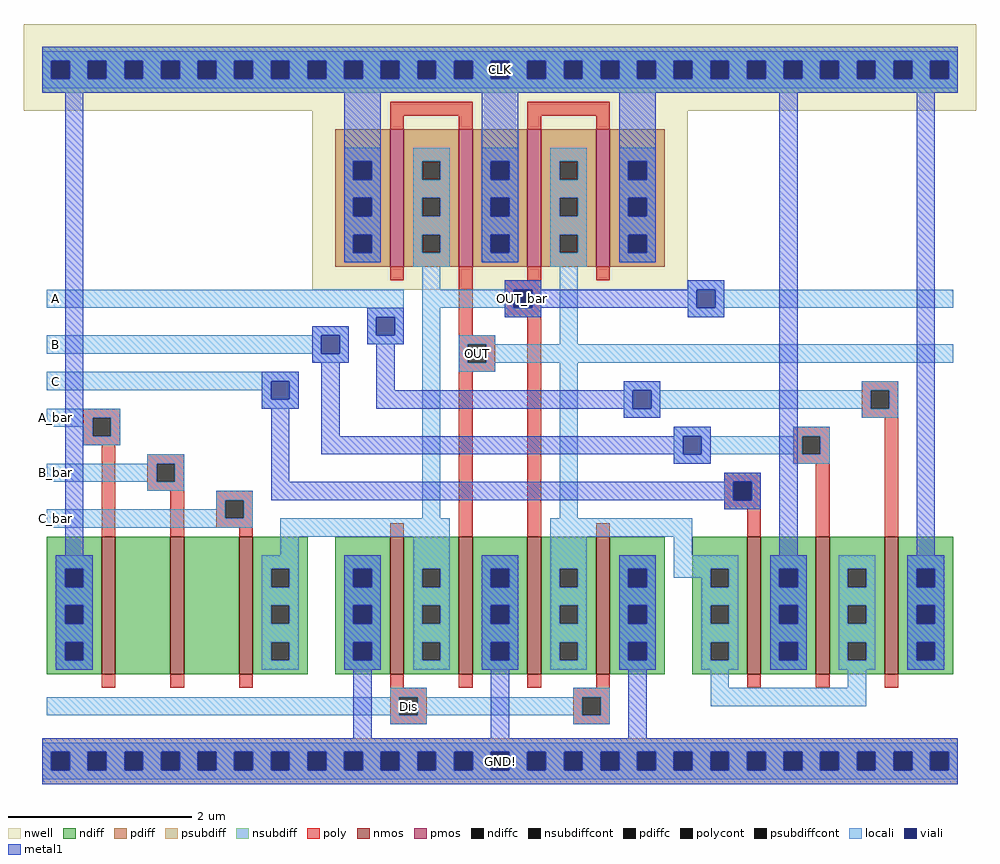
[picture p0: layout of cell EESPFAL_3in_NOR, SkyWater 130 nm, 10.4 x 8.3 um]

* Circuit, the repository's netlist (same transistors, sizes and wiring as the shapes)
* NGSPICE file created from EESPFAL_3in_NOR.ext - technology: sky130A

.subckt EESPFAL_3in_NOR A A_bar B B_bar C C_bar OUT OUT_bar Dis GND CLK
X0 CLK OUT_bar OUT CLK sky130_fd_pr__pfet_01v8 ad=2.7e+12p pd=1.26e+07u as=9e+11p ps=4.2e+06u w=1.5e+06u l=150000u M=2
X1 a_n1990_240# B_bar a_n2140_240# GND sky130_fd_pr__nfet_01v8 ad=9e+11p pd=4.2e+06u as=9e+11p ps=4.2e+06u w=1.5e+06u l=150000u
X2 CLK A OUT GND sky130_fd_pr__nfet_01v8 ad=7.7e+12p pd=3.36e+07u as=2.7e+12p ps=1.26e+07u w=1.5e+06u l=150000u
X3 OUT_bar OUT CLK CLK sky130_fd_pr__pfet_01v8 ad=9e+11p pd=4.2e+06u as=0p ps=0u w=1.5e+06u l=150000u M=2
X4 OUT OUT_bar GND GND sky130_fd_pr__nfet_01v8 ad=0p pd=0u as=2.7e+12p ps=1.26e+07u w=1.5e+06u l=150000u
X5 CLK C OUT GND sky130_fd_pr__nfet_01v8 ad=0p pd=0u as=0p ps=0u w=1.5e+06u l=150000u
X6 OUT_bar Dis GND GND sky130_fd_pr__nfet_01v8 ad=1.8e+12p pd=8.4e+06u as=0p ps=0u w=1.5e+06u l=150000u
X7 a_n2140_240# A_bar CLK GND sky130_fd_pr__nfet_01v8 ad=0p pd=0u as=0p ps=0u w=1.5e+06u l=150000u
X8 GND Dis OUT GND sky130_fd_pr__nfet_01v8 ad=0p pd=0u as=0p ps=0u w=1.5e+06u l=150000u
X9 OUT_bar C_bar a_n1990_240# GND sky130_fd_pr__nfet_01v8 ad=0p pd=0u as=0p ps=0u w=1.5e+06u l=150000u
X10 GND OUT OUT_bar GND sky130_fd_pr__nfet_01v8 ad=0p pd=0u as=0p ps=0u w=1.5e+06u l=150000u
X11 OUT B CLK GND sky130_fd_pr__nfet_01v8 ad=0p pd=0u as=0p ps=0u w=1.5e+06u l=150000u
.ends

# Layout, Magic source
magic
tech sky130A
<< nwell >>
rect -1170 735 -130 830
rect -855 540 -445 735
<< nmos >>
rect -1085 120 -1070 270
rect -1010 120 -995 270
rect -935 120 -920 270
rect -770 120 -755 270
rect -695 120 -680 270
rect -620 120 -605 270
rect -545 120 -530 270
rect -380 120 -365 270
rect -305 120 -290 270
rect -230 120 -215 270
<< pmos >>
rect -770 565 -755 715
rect -695 565 -680 715
rect -620 565 -605 715
rect -545 565 -530 715
<< ndiff >>
rect -1145 235 -1085 270
rect -1145 215 -1125 235
rect -1105 215 -1085 235
rect -1145 195 -1085 215
rect -1145 175 -1125 195
rect -1105 175 -1085 195
rect -1145 155 -1085 175
rect -1145 135 -1125 155
rect -1105 135 -1085 155
rect -1145 120 -1085 135
rect -1070 120 -1010 270
rect -995 120 -935 270
rect -920 235 -860 270
rect -920 215 -900 235
rect -880 215 -860 235
rect -920 195 -860 215
rect -920 175 -900 195
rect -880 175 -860 195
rect -920 155 -860 175
rect -920 135 -900 155
rect -880 135 -860 155
rect -920 120 -860 135
rect -830 235 -770 270
rect -830 215 -810 235
rect -790 215 -770 235
rect -830 195 -770 215
rect -830 175 -810 195
rect -790 175 -770 195
rect -830 155 -770 175
rect -830 135 -810 155
rect -790 135 -770 155
rect -830 120 -770 135
rect -755 235 -695 270
rect -755 215 -735 235
rect -715 215 -695 235
rect -755 195 -695 215
rect -755 175 -735 195
rect -715 175 -695 195
rect -755 155 -695 175
rect -755 135 -735 155
rect -715 135 -695 155
rect -755 120 -695 135
rect -680 235 -620 270
rect -680 215 -660 235
rect -640 215 -620 235
rect -680 195 -620 215
rect -680 175 -660 195
rect -640 175 -620 195
rect -680 155 -620 175
rect -680 135 -660 155
rect -640 135 -620 155
rect -680 120 -620 135
rect -605 235 -545 270
rect -605 215 -585 235
rect -565 215 -545 235
rect -605 195 -545 215
rect -605 175 -585 195
rect -565 175 -545 195
rect -605 155 -545 175
rect -605 135 -585 155
rect -565 135 -545 155
rect -605 120 -545 135
rect -530 235 -470 270
rect -530 215 -510 235
rect -490 215 -470 235
rect -530 195 -470 215
rect -530 175 -510 195
rect -490 175 -470 195
rect -530 155 -470 175
rect -530 135 -510 155
rect -490 135 -470 155
rect -530 120 -470 135
rect -440 235 -380 270
rect -440 215 -420 235
rect -400 215 -380 235
rect -440 195 -380 215
rect -440 175 -420 195
rect -400 175 -380 195
rect -440 155 -380 175
rect -440 135 -420 155
rect -400 135 -380 155
rect -440 120 -380 135
rect -365 235 -305 270
rect -365 215 -345 235
rect -325 215 -305 235
rect -365 195 -305 215
rect -365 175 -345 195
rect -325 175 -305 195
rect -365 155 -305 175
rect -365 135 -345 155
rect -325 135 -305 155
rect -365 120 -305 135
rect -290 235 -230 270
rect -290 215 -270 235
rect -250 215 -230 235
rect -290 195 -230 215
rect -290 175 -270 195
rect -250 175 -230 195
rect -290 155 -230 175
rect -290 135 -270 155
rect -250 135 -230 155
rect -290 120 -230 135
rect -215 235 -155 270
rect -215 215 -195 235
rect -175 215 -155 235
rect -215 195 -155 215
rect -215 175 -195 195
rect -175 175 -155 195
rect -215 155 -155 175
rect -215 135 -195 155
rect -175 135 -155 155
rect -215 120 -155 135
<< pdiff >>
rect -830 680 -770 715
rect -830 660 -810 680
rect -790 660 -770 680
rect -830 640 -770 660
rect -830 620 -810 640
rect -790 620 -770 640
rect -830 600 -770 620
rect -830 580 -810 600
rect -790 580 -770 600
rect -830 565 -770 580
rect -755 680 -695 715
rect -755 660 -735 680
rect -715 660 -695 680
rect -755 640 -695 660
rect -755 620 -735 640
rect -715 620 -695 640
rect -755 600 -695 620
rect -755 580 -735 600
rect -715 580 -695 600
rect -755 565 -695 580
rect -680 680 -620 715
rect -680 660 -660 680
rect -640 660 -620 680
rect -680 640 -620 660
rect -680 620 -660 640
rect -640 620 -620 640
rect -680 600 -620 620
rect -680 580 -660 600
rect -640 580 -620 600
rect -680 565 -620 580
rect -605 680 -545 715
rect -605 660 -585 680
rect -565 660 -545 680
rect -605 640 -545 660
rect -605 620 -585 640
rect -565 620 -545 640
rect -605 600 -545 620
rect -605 580 -585 600
rect -565 580 -545 600
rect -605 565 -545 580
rect -530 680 -470 715
rect -530 660 -510 680
rect -490 660 -470 680
rect -530 640 -470 660
rect -530 620 -510 640
rect -490 620 -470 640
rect -530 600 -470 620
rect -530 580 -510 600
rect -490 580 -470 600
rect -530 565 -470 580
<< ndiffc >>
rect -1125 215 -1105 235
rect -1125 175 -1105 195
rect -1125 135 -1105 155
rect -900 215 -880 235
rect -900 175 -880 195
rect -900 135 -880 155
rect -810 215 -790 235
rect -810 175 -790 195
rect -810 135 -790 155
rect -735 215 -715 235
rect -735 175 -715 195
rect -735 135 -715 155
rect -660 215 -640 235
rect -660 175 -640 195
rect -660 135 -640 155
rect -585 215 -565 235
rect -585 175 -565 195
rect -585 135 -565 155
rect -510 215 -490 235
rect -510 175 -490 195
rect -510 135 -490 155
rect -420 215 -400 235
rect -420 175 -400 195
rect -420 135 -400 155
rect -345 215 -325 235
rect -345 175 -325 195
rect -345 135 -325 155
rect -270 215 -250 235
rect -270 175 -250 195
rect -270 135 -250 155
rect -195 215 -175 235
rect -195 175 -175 195
rect -195 135 -175 155
<< pdiffc >>
rect -810 660 -790 680
rect -810 620 -790 640
rect -810 580 -790 600
rect -735 660 -715 680
rect -735 620 -715 640
rect -735 580 -715 600
rect -660 660 -640 680
rect -660 620 -640 640
rect -660 580 -640 600
rect -585 660 -565 680
rect -585 620 -565 640
rect -585 580 -565 600
rect -510 660 -490 680
rect -510 620 -490 640
rect -510 580 -490 600
<< psubdiff >>
rect -1150 35 -150 50
rect -1150 15 -1140 35
rect -1120 15 -1100 35
rect -1080 15 -1060 35
rect -1040 15 -1020 35
rect -1000 15 -980 35
rect -960 15 -940 35
rect -920 15 -900 35
rect -880 15 -860 35
rect -840 15 -820 35
rect -800 15 -780 35
rect -760 15 -740 35
rect -720 15 -700 35
rect -680 15 -660 35
rect -640 15 -620 35
rect -600 15 -580 35
rect -560 15 -540 35
rect -520 15 -500 35
rect -480 15 -460 35
rect -440 15 -420 35
rect -400 15 -380 35
rect -360 15 -340 35
rect -320 15 -300 35
rect -280 15 -260 35
rect -240 15 -220 35
rect -200 15 -180 35
rect -160 15 -150 35
rect -1150 0 -150 15
<< nsubdiff >>
rect -1150 790 -150 805
rect -1150 770 -1140 790
rect -1120 770 -1100 790
rect -1080 770 -1060 790
rect -1040 770 -1020 790
rect -1000 770 -980 790
rect -960 770 -940 790
rect -920 770 -900 790
rect -880 770 -860 790
rect -840 770 -820 790
rect -800 770 -780 790
rect -760 770 -740 790
rect -720 770 -700 790
rect -680 770 -660 790
rect -640 770 -620 790
rect -600 770 -580 790
rect -560 770 -540 790
rect -520 770 -500 790
rect -480 770 -460 790
rect -440 770 -420 790
rect -400 770 -380 790
rect -360 770 -340 790
rect -320 770 -300 790
rect -280 770 -260 790
rect -240 770 -220 790
rect -200 770 -180 790
rect -160 770 -150 790
rect -1150 755 -150 770
<< psubdiffcont >>
rect -1140 15 -1120 35
rect -1100 15 -1080 35
rect -1060 15 -1040 35
rect -1020 15 -1000 35
rect -980 15 -960 35
rect -940 15 -920 35
rect -900 15 -880 35
rect -860 15 -840 35
rect -820 15 -800 35
rect -780 15 -760 35
rect -740 15 -720 35
rect -700 15 -680 35
rect -660 15 -640 35
rect -620 15 -600 35
rect -580 15 -560 35
rect -540 15 -520 35
rect -500 15 -480 35
rect -460 15 -440 35
rect -420 15 -400 35
rect -380 15 -360 35
rect -340 15 -320 35
rect -300 15 -280 35
rect -260 15 -240 35
rect -220 15 -200 35
rect -180 15 -160 35
<< nsubdiffcont >>
rect -1140 770 -1120 790
rect -1100 770 -1080 790
rect -1060 770 -1040 790
rect -1020 770 -1000 790
rect -980 770 -960 790
rect -940 770 -920 790
rect -900 770 -880 790
rect -860 770 -840 790
rect -820 770 -800 790
rect -780 770 -760 790
rect -740 770 -720 790
rect -700 770 -680 790
rect -660 770 -640 790
rect -620 770 -600 790
rect -580 770 -560 790
rect -540 770 -520 790
rect -500 770 -480 790
rect -460 770 -440 790
rect -420 770 -400 790
rect -380 770 -360 790
rect -340 770 -320 790
rect -300 770 -280 790
rect -260 770 -240 790
rect -220 770 -200 790
rect -180 770 -160 790
<< poly >>
rect -770 730 -680 745
rect -770 715 -755 730
rect -695 715 -680 730
rect -620 730 -530 745
rect -620 715 -605 730
rect -545 715 -530 730
rect -770 550 -755 565
rect -695 490 -680 565
rect -620 550 -605 565
rect -545 550 -530 565
rect -645 540 -605 550
rect -645 520 -635 540
rect -615 520 -605 540
rect -645 510 -605 520
rect -695 480 -655 490
rect -695 460 -685 480
rect -665 460 -655 480
rect -695 450 -655 460
rect -1105 400 -1065 410
rect -1105 380 -1095 400
rect -1075 380 -1065 400
rect -1105 370 -1065 380
rect -1085 270 -1070 370
rect -1035 350 -995 360
rect -1035 330 -1025 350
rect -1005 330 -995 350
rect -1035 320 -995 330
rect -1010 270 -995 320
rect -960 310 -920 320
rect -960 290 -950 310
rect -930 290 -920 310
rect -960 280 -920 290
rect -935 270 -920 280
rect -770 270 -755 285
rect -695 270 -680 450
rect -620 270 -605 510
rect -255 430 -215 440
rect -255 410 -245 430
rect -225 410 -215 430
rect -255 400 -215 410
rect -330 380 -290 390
rect -330 360 -320 380
rect -300 360 -290 380
rect -330 350 -290 360
rect -405 330 -365 340
rect -405 310 -395 330
rect -375 310 -365 330
rect -405 300 -365 310
rect -545 270 -530 285
rect -380 270 -365 300
rect -305 270 -290 350
rect -230 270 -215 400
rect -1085 105 -1070 120
rect -1010 105 -995 120
rect -935 105 -920 120
rect -770 105 -755 120
rect -695 105 -680 120
rect -620 105 -605 120
rect -545 105 -530 120
rect -380 105 -365 120
rect -305 105 -290 120
rect -230 105 -215 120
rect -770 95 -730 105
rect -770 75 -760 95
rect -740 75 -730 95
rect -770 65 -730 75
rect -570 95 -530 105
rect -570 75 -560 95
rect -540 75 -530 95
rect -570 65 -530 75
<< polycont >>
rect -635 520 -615 540
rect -685 460 -665 480
rect -1095 380 -1075 400
rect -1025 330 -1005 350
rect -950 290 -930 310
rect -245 410 -225 430
rect -320 360 -300 380
rect -395 310 -375 330
rect -760 75 -740 95
rect -560 75 -540 95
<< locali >>
rect -1150 790 -150 800
rect -1150 770 -1140 790
rect -1120 770 -1100 790
rect -1080 770 -1060 790
rect -1040 770 -1020 790
rect -1000 770 -980 790
rect -960 770 -940 790
rect -920 770 -900 790
rect -880 770 -860 790
rect -840 770 -820 790
rect -800 770 -780 790
rect -760 770 -740 790
rect -720 770 -700 790
rect -680 770 -660 790
rect -640 770 -620 790
rect -600 770 -580 790
rect -560 770 -540 790
rect -520 770 -500 790
rect -480 770 -460 790
rect -440 770 -420 790
rect -400 770 -380 790
rect -360 770 -340 790
rect -320 770 -300 790
rect -280 770 -260 790
rect -240 770 -220 790
rect -200 770 -180 790
rect -160 770 -150 790
rect -1150 760 -150 770
rect -820 680 -780 695
rect -820 660 -810 680
rect -790 660 -780 680
rect -820 640 -780 660
rect -820 620 -810 640
rect -790 620 -780 640
rect -820 600 -780 620
rect -820 580 -810 600
rect -790 580 -780 600
rect -820 570 -780 580
rect -745 680 -705 695
rect -745 660 -735 680
rect -715 660 -705 680
rect -745 640 -705 660
rect -745 620 -735 640
rect -715 620 -705 640
rect -745 600 -705 620
rect -745 580 -735 600
rect -715 580 -705 600
rect -745 565 -705 580
rect -670 680 -630 695
rect -670 660 -660 680
rect -640 660 -630 680
rect -670 640 -630 660
rect -670 620 -660 640
rect -640 620 -630 640
rect -670 600 -630 620
rect -670 580 -660 600
rect -640 580 -630 600
rect -670 570 -630 580
rect -595 680 -555 695
rect -595 660 -585 680
rect -565 660 -555 680
rect -595 640 -555 660
rect -595 620 -585 640
rect -565 620 -555 640
rect -595 600 -555 620
rect -595 580 -585 600
rect -565 580 -555 600
rect -595 565 -555 580
rect -520 680 -480 695
rect -520 660 -510 680
rect -490 660 -480 680
rect -520 640 -480 660
rect -520 620 -510 640
rect -490 620 -480 640
rect -520 600 -480 620
rect -520 580 -510 600
rect -490 580 -480 600
rect -520 570 -480 580
rect -735 540 -715 565
rect -645 540 -605 550
rect -1145 520 -755 540
rect -795 510 -755 520
rect -855 490 -815 500
rect -1145 470 -845 490
rect -825 470 -815 490
rect -795 490 -785 510
rect -765 490 -755 510
rect -795 480 -755 490
rect -735 520 -635 540
rect -615 520 -605 540
rect -855 460 -815 470
rect -1145 440 -870 450
rect -1145 430 -900 440
rect -910 420 -900 430
rect -880 420 -870 440
rect -910 410 -870 420
rect -1145 400 -1065 410
rect -1145 390 -1095 400
rect -1105 380 -1095 390
rect -1075 380 -1065 400
rect -1105 370 -1065 380
rect -1035 350 -995 360
rect -1145 330 -1025 350
rect -1005 330 -995 350
rect -1035 320 -995 330
rect -960 310 -920 320
rect -960 300 -950 310
rect -1145 290 -950 300
rect -930 290 -920 310
rect -735 290 -715 520
rect -645 510 -605 520
rect -695 480 -655 490
rect -585 480 -565 565
rect -445 540 -405 550
rect -445 520 -435 540
rect -415 520 -155 540
rect -445 510 -405 520
rect -695 460 -685 480
rect -665 460 -155 480
rect -695 450 -655 460
rect -585 290 -565 460
rect -515 430 -475 440
rect -255 430 -215 440
rect -515 410 -505 430
rect -485 410 -245 430
rect -225 410 -215 430
rect -515 400 -475 410
rect -255 400 -215 410
rect -460 380 -420 390
rect -330 380 -290 390
rect -460 360 -450 380
rect -430 360 -320 380
rect -300 360 -290 380
rect -460 350 -420 360
rect -330 350 -290 360
rect -405 330 -365 340
rect -405 310 -395 330
rect -375 310 -365 330
rect -405 300 -365 310
rect -1145 280 -920 290
rect -890 270 -705 290
rect -890 250 -870 270
rect -1135 235 -1095 250
rect -1135 215 -1125 235
rect -1105 215 -1095 235
rect -1135 195 -1095 215
rect -1135 175 -1125 195
rect -1105 175 -1095 195
rect -1135 155 -1095 175
rect -1135 135 -1125 155
rect -1105 135 -1095 155
rect -1135 125 -1095 135
rect -910 235 -870 250
rect -910 215 -900 235
rect -880 215 -870 235
rect -910 195 -870 215
rect -910 175 -900 195
rect -880 175 -870 195
rect -910 155 -870 175
rect -910 135 -900 155
rect -880 135 -870 155
rect -910 125 -870 135
rect -820 235 -780 250
rect -820 215 -810 235
rect -790 215 -780 235
rect -820 195 -780 215
rect -820 175 -810 195
rect -790 175 -780 195
rect -820 155 -780 175
rect -820 135 -810 155
rect -790 135 -780 155
rect -820 125 -780 135
rect -745 235 -705 270
rect -595 270 -440 290
rect -745 215 -735 235
rect -715 215 -705 235
rect -745 195 -705 215
rect -745 175 -735 195
rect -715 175 -705 195
rect -745 155 -705 175
rect -745 135 -735 155
rect -715 135 -705 155
rect -745 125 -705 135
rect -670 235 -630 250
rect -670 215 -660 235
rect -640 215 -630 235
rect -670 195 -630 215
rect -670 175 -660 195
rect -640 175 -630 195
rect -670 155 -630 175
rect -670 135 -660 155
rect -640 135 -630 155
rect -670 125 -630 135
rect -595 235 -555 270
rect -460 250 -440 270
rect -595 215 -585 235
rect -565 215 -555 235
rect -595 195 -555 215
rect -595 175 -585 195
rect -565 175 -555 195
rect -595 155 -555 175
rect -595 135 -585 155
rect -565 135 -555 155
rect -595 125 -555 135
rect -520 235 -480 250
rect -520 215 -510 235
rect -490 215 -480 235
rect -460 235 -390 250
rect -460 225 -420 235
rect -520 195 -480 215
rect -520 175 -510 195
rect -490 175 -480 195
rect -520 155 -480 175
rect -520 135 -510 155
rect -490 135 -480 155
rect -520 125 -480 135
rect -430 215 -420 225
rect -400 215 -390 235
rect -430 195 -390 215
rect -430 175 -420 195
rect -400 175 -390 195
rect -430 155 -390 175
rect -430 135 -420 155
rect -400 135 -390 155
rect -430 125 -390 135
rect -355 235 -315 250
rect -355 215 -345 235
rect -325 215 -315 235
rect -355 195 -315 215
rect -355 175 -345 195
rect -325 175 -315 195
rect -355 155 -315 175
rect -355 135 -345 155
rect -325 135 -315 155
rect -355 125 -315 135
rect -280 235 -240 250
rect -280 215 -270 235
rect -250 215 -240 235
rect -280 195 -240 215
rect -280 175 -270 195
rect -250 175 -240 195
rect -280 155 -240 175
rect -280 135 -270 155
rect -250 135 -240 155
rect -280 125 -240 135
rect -205 235 -165 250
rect -205 215 -195 235
rect -175 215 -165 235
rect -205 195 -165 215
rect -205 175 -195 195
rect -175 175 -165 195
rect -205 155 -165 175
rect -205 135 -195 155
rect -175 135 -165 155
rect -205 125 -165 135
rect -420 105 -400 125
rect -270 105 -250 125
rect -770 95 -730 105
rect -570 95 -530 105
rect -1145 75 -760 95
rect -740 75 -560 95
rect -540 75 -530 95
rect -420 85 -250 105
rect -770 65 -730 75
rect -570 65 -530 75
rect -1150 35 -150 45
rect -1150 15 -1140 35
rect -1120 15 -1100 35
rect -1080 15 -1060 35
rect -1040 15 -1020 35
rect -1000 15 -980 35
rect -960 15 -940 35
rect -920 15 -900 35
rect -880 15 -860 35
rect -840 15 -820 35
rect -800 15 -780 35
rect -760 15 -740 35
rect -720 15 -700 35
rect -680 15 -660 35
rect -640 15 -620 35
rect -600 15 -580 35
rect -560 15 -540 35
rect -520 15 -500 35
rect -480 15 -460 35
rect -440 15 -420 35
rect -400 15 -380 35
rect -360 15 -340 35
rect -320 15 -300 35
rect -280 15 -260 35
rect -240 15 -220 35
rect -200 15 -180 35
rect -160 15 -150 35
rect -1150 5 -150 15
<< viali >>
rect -1140 770 -1120 790
rect -1100 770 -1080 790
rect -1060 770 -1040 790
rect -1020 770 -1000 790
rect -980 770 -960 790
rect -940 770 -920 790
rect -900 770 -880 790
rect -860 770 -840 790
rect -820 770 -800 790
rect -780 770 -760 790
rect -740 770 -720 790
rect -700 770 -680 790
rect -660 770 -640 790
rect -620 770 -600 790
rect -580 770 -560 790
rect -540 770 -520 790
rect -500 770 -480 790
rect -460 770 -440 790
rect -420 770 -400 790
rect -380 770 -360 790
rect -340 770 -320 790
rect -300 770 -280 790
rect -260 770 -240 790
rect -220 770 -200 790
rect -180 770 -160 790
rect -810 660 -790 680
rect -810 620 -790 640
rect -810 580 -790 600
rect -660 660 -640 680
rect -660 620 -640 640
rect -660 580 -640 600
rect -510 660 -490 680
rect -510 620 -490 640
rect -510 580 -490 600
rect -845 470 -825 490
rect -785 490 -765 510
rect -635 520 -615 540
rect -900 420 -880 440
rect -435 520 -415 540
rect -505 410 -485 430
rect -450 360 -430 380
rect -395 310 -375 330
rect -1125 215 -1105 235
rect -1125 175 -1105 195
rect -1125 135 -1105 155
rect -810 215 -790 235
rect -810 175 -790 195
rect -810 135 -790 155
rect -660 215 -640 235
rect -660 175 -640 195
rect -660 135 -640 155
rect -510 215 -490 235
rect -510 175 -490 195
rect -510 135 -490 155
rect -345 215 -325 235
rect -345 175 -325 195
rect -345 135 -325 155
rect -195 215 -175 235
rect -195 175 -175 195
rect -195 135 -175 155
rect -1140 15 -1120 35
rect -1100 15 -1080 35
rect -1060 15 -1040 35
rect -1020 15 -1000 35
rect -980 15 -960 35
rect -940 15 -920 35
rect -900 15 -880 35
rect -860 15 -840 35
rect -820 15 -800 35
rect -780 15 -760 35
rect -740 15 -720 35
rect -700 15 -680 35
rect -660 15 -640 35
rect -620 15 -600 35
rect -580 15 -560 35
rect -540 15 -520 35
rect -500 15 -480 35
rect -460 15 -440 35
rect -420 15 -400 35
rect -380 15 -360 35
rect -340 15 -320 35
rect -300 15 -280 35
rect -260 15 -240 35
rect -220 15 -200 35
rect -180 15 -160 35
<< metal1 >>
rect -1150 790 -150 805
rect -1150 770 -1140 790
rect -1120 770 -1100 790
rect -1080 770 -1060 790
rect -1040 770 -1020 790
rect -1000 770 -980 790
rect -960 770 -940 790
rect -920 770 -900 790
rect -880 770 -860 790
rect -840 770 -820 790
rect -800 770 -780 790
rect -760 770 -740 790
rect -720 770 -700 790
rect -680 770 -660 790
rect -640 770 -620 790
rect -600 770 -580 790
rect -560 770 -540 790
rect -520 770 -500 790
rect -480 770 -460 790
rect -440 770 -420 790
rect -400 770 -380 790
rect -360 770 -340 790
rect -320 770 -300 790
rect -280 770 -260 790
rect -240 770 -220 790
rect -200 770 -180 790
rect -160 770 -150 790
rect -1150 755 -150 770
rect -1125 250 -1105 755
rect -820 680 -780 755
rect -820 660 -810 680
rect -790 660 -780 680
rect -820 640 -780 660
rect -820 620 -810 640
rect -790 620 -780 640
rect -820 600 -780 620
rect -820 580 -810 600
rect -790 580 -780 600
rect -820 570 -780 580
rect -670 680 -630 755
rect -670 660 -660 680
rect -640 660 -630 680
rect -670 640 -630 660
rect -670 620 -660 640
rect -640 620 -630 640
rect -670 600 -630 620
rect -670 580 -660 600
rect -640 580 -630 600
rect -670 570 -630 580
rect -520 680 -480 755
rect -520 660 -510 680
rect -490 660 -480 680
rect -520 640 -480 660
rect -520 620 -510 640
rect -490 620 -480 640
rect -520 600 -480 620
rect -520 580 -510 600
rect -490 580 -480 600
rect -520 570 -480 580
rect -645 540 -605 550
rect -445 540 -405 550
rect -645 520 -635 540
rect -615 520 -435 540
rect -415 520 -405 540
rect -795 510 -755 520
rect -645 510 -605 520
rect -445 510 -405 520
rect -855 490 -815 500
rect -855 470 -845 490
rect -825 470 -815 490
rect -795 490 -785 510
rect -765 490 -755 510
rect -795 480 -755 490
rect -855 460 -815 470
rect -910 440 -870 450
rect -910 420 -900 440
rect -880 420 -870 440
rect -910 410 -870 420
rect -900 330 -880 410
rect -845 380 -825 460
rect -785 430 -765 480
rect -515 430 -475 440
rect -785 410 -505 430
rect -485 410 -475 430
rect -515 400 -475 410
rect -460 380 -420 390
rect -845 360 -450 380
rect -430 360 -420 380
rect -460 350 -420 360
rect -405 330 -365 340
rect -900 310 -395 330
rect -375 310 -365 330
rect -405 300 -365 310
rect -345 250 -325 755
rect -195 250 -175 755
rect -1135 235 -1095 250
rect -1135 215 -1125 235
rect -1105 215 -1095 235
rect -1135 195 -1095 215
rect -1135 175 -1125 195
rect -1105 175 -1095 195
rect -1135 155 -1095 175
rect -1135 135 -1125 155
rect -1105 135 -1095 155
rect -1135 125 -1095 135
rect -820 235 -780 250
rect -820 215 -810 235
rect -790 215 -780 235
rect -820 195 -780 215
rect -820 175 -810 195
rect -790 175 -780 195
rect -820 155 -780 175
rect -820 135 -810 155
rect -790 135 -780 155
rect -820 125 -780 135
rect -670 235 -630 250
rect -670 215 -660 235
rect -640 215 -630 235
rect -670 195 -630 215
rect -670 175 -660 195
rect -640 175 -630 195
rect -670 155 -630 175
rect -670 135 -660 155
rect -640 135 -630 155
rect -670 125 -630 135
rect -520 235 -480 250
rect -520 215 -510 235
rect -490 215 -480 235
rect -520 195 -480 215
rect -520 175 -510 195
rect -490 175 -480 195
rect -520 155 -480 175
rect -520 135 -510 155
rect -490 135 -480 155
rect -520 125 -480 135
rect -355 235 -315 250
rect -355 215 -345 235
rect -325 215 -315 235
rect -355 195 -315 215
rect -355 175 -345 195
rect -325 175 -315 195
rect -355 155 -315 175
rect -355 135 -345 155
rect -325 135 -315 155
rect -355 125 -315 135
rect -205 235 -165 250
rect -205 215 -195 235
rect -175 215 -165 235
rect -205 195 -165 215
rect -205 175 -195 195
rect -175 175 -165 195
rect -205 155 -165 175
rect -205 135 -195 155
rect -175 135 -165 155
rect -205 125 -165 135
rect -810 50 -790 125
rect -660 50 -640 125
rect -510 50 -490 125
rect -1150 35 -150 50
rect -1150 15 -1140 35
rect -1120 15 -1100 35
rect -1080 15 -1060 35
rect -1040 15 -1020 35
rect -1000 15 -980 35
rect -960 15 -940 35
rect -920 15 -900 35
rect -880 15 -860 35
rect -840 15 -820 35
rect -800 15 -780 35
rect -760 15 -740 35
rect -720 15 -700 35
rect -680 15 -660 35
rect -640 15 -620 35
rect -600 15 -580 35
rect -560 15 -540 35
rect -520 15 -500 35
rect -480 15 -460 35
rect -440 15 -420 35
rect -400 15 -380 35
rect -360 15 -340 35
rect -320 15 -300 35
rect -280 15 -260 35
rect -240 15 -220 35
rect -200 15 -180 35
rect -160 15 -150 35
rect -1150 0 -150 15
<< labels >>
rlabel viali -635 520 -615 540 7 OUT_bar
port 8 w
rlabel locali -685 460 -665 480 7 OUT
port 7 w
rlabel metal1 -660 770 -640 790 7 CLK
port 11 w
rlabel locali -1140 525 -1130 535 7 A
port 1 w
rlabel locali -1140 475 -1130 485 7 B
port 3 w
rlabel locali -760 75 -740 95 7 Dis
port 9 w
rlabel locali -1140 395 -1130 405 7 A_bar
port 2 w
rlabel locali -1140 435 -1130 445 7 C
port 5 w
rlabel locali -1140 285 -1130 295 7 C_bar
port 6 w
rlabel locali -1140 335 -1130 345 7 B_bar
port 4 w
rlabel metal1 -660 15 -640 35 7 GND!
port 10 w
<< end >>
